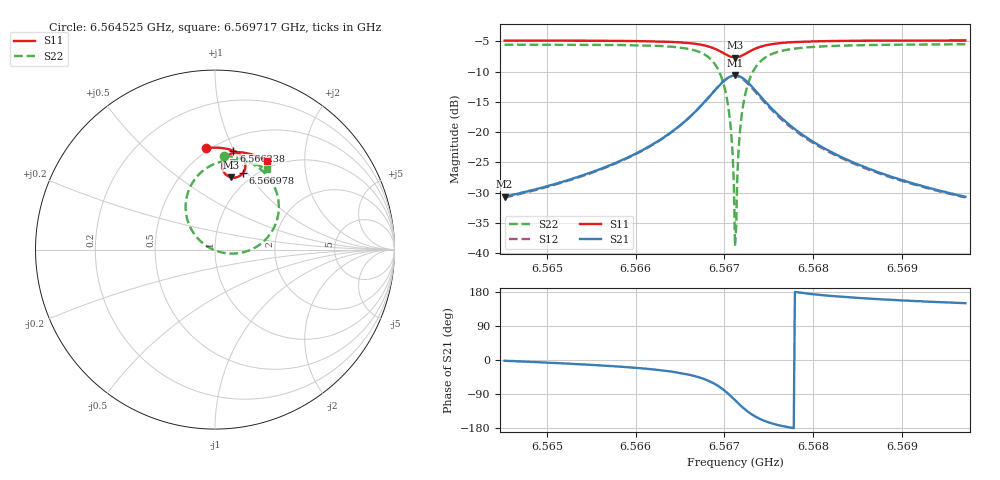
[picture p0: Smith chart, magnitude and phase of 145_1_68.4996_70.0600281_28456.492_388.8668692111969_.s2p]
#  HZ  S  RI  R  50.00
! Rohde & Schwarz Vector Network Analyzer
! Rohde-Schwarz,ZNB20-2Port,1311601062101988,3.16
! Created: UTC 3/20/2024, 5:10:10 PM
! freq[Hz]  re:S11  im:S11  re:S21  im:S21  re:S12  im:S12  re:S22  im:S22
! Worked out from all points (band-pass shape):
!   401 points, 6.564525 GHz to 6.569717 GHz, reference 50 ohm
!   highest |S21| = -10.64 dB at 6.567121 GHz (marker M1); lowest = -30.7 dB at 6.564525 GHz (marker M2)
!   |S21| within 3 dB of the highest: 6.566862 GHz to 6.567381 GHz (518.9 kHz wide, 0.0079 % of centre)
!   lowest |S11| = -7.7 dB at 6.567121 GHz (marker M3), VSWR 2.40, Z = 42 + j40.7 ohm
!   |S11| at or under -10 dB: nowhere
!   |S22| runs from -38.8 to -5.5 dB; largest |S21 - S12| = 0.014
!   S11 on the Smith chart (normalised r, x): 6.564525 GHz: 0.47, +0.80; 6.566238 GHz: 0.62, +0.99; 6.566978 GHz: 0.89, +0.95; 6.569717 GHz: 0.90, +1.32
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6.5645245e9  -0.0501 0.5668  0.0293 -0.00105  0.0288 -0.00148  0.0504 0.5233
6.5653943e9  0.0219 0.5674  0.0429 -0.00882  0.0421 -0.00934  0.1347 0.5082
6.566238e9  0.1025 0.5506  0.0746 -0.0362  0.0736 -0.037  0.2504 0.4505
6.566264e9  0.1052 0.5494  0.0764 -0.0381  0.0753 -0.0388  0.2552 0.4466
6.5665625e9  0.1407 0.5278  0.0991 -0.0743  0.0976 -0.0758  0.3173 0.3752
6.5667702e9  0.1648 0.4937  0.1123 -0.1339  0.1096 -0.1365  0.3546 0.2605
6.5668871e9  0.1693 0.4598  0.1012 -0.1931  0.0963 -0.197  0.3394 0.1473
6.5669779e9  0.1563 0.4268  0.0615 -0.2497  0.0528 -0.2528  0.2668 0.042
6.5670558e9  0.1259 0.4046  -0.00724 -0.2848  -0.0195 -0.2839  0.14 -0.0186
6.5670818e9  0.1124 0.4014  -0.0361 -0.2882  -0.0489 -0.2853  0.0877 -0.0224
6.5671077e9  0.098 0.4013  -0.0661 -0.2858  -0.0787 -0.2809  0.0346 -0.0151
6.5671207e9  0.091 0.4024  -0.0808 -0.2825  -0.0931 -0.2763  0.00876 -0.00737
6.5671337e9  0.084 0.4044  -0.0951 -0.2777  -0.1072 -0.2704  -0.0162 0.0028
6.5671467e9  0.0772 0.4072  -0.1089 -0.2715  -0.1204 -0.2631  -0.0396 0.0157
6.5671726e9  0.0652 0.4146  -0.1339 -0.2554  -0.1437 -0.2452  -0.0812 0.0472
6.5672116e9  0.0513 0.4295  -0.163 -0.2248  -0.17 -0.2132  -0.1275 0.1048
6.5672505e9  0.0431 0.4467  -0.1813 -0.1909  -0.1853 -0.1789  -0.1541 0.1667
6.5673154e9  0.0407 0.4741  -0.1915 -0.1372  -0.1917 -0.1264  -0.1625 0.2614
6.5675621e9  0.0791 0.5295  -0.1466 -0.0285  -0.1432 -0.024  -0.0602 0.4448
6.5679904e9  0.1423 0.5423  -0.0838 0.0091  -0.0817 0.0104  0.0801 0.498
6.5688602e9  0.2253 0.5226  -0.0406 0.0156  -0.0397 0.0158  0.211 0.4814
6.5697169e9  0.2892 0.492  -0.0254 0.0147  -0.0248 0.0149  0.2881 0.4467
